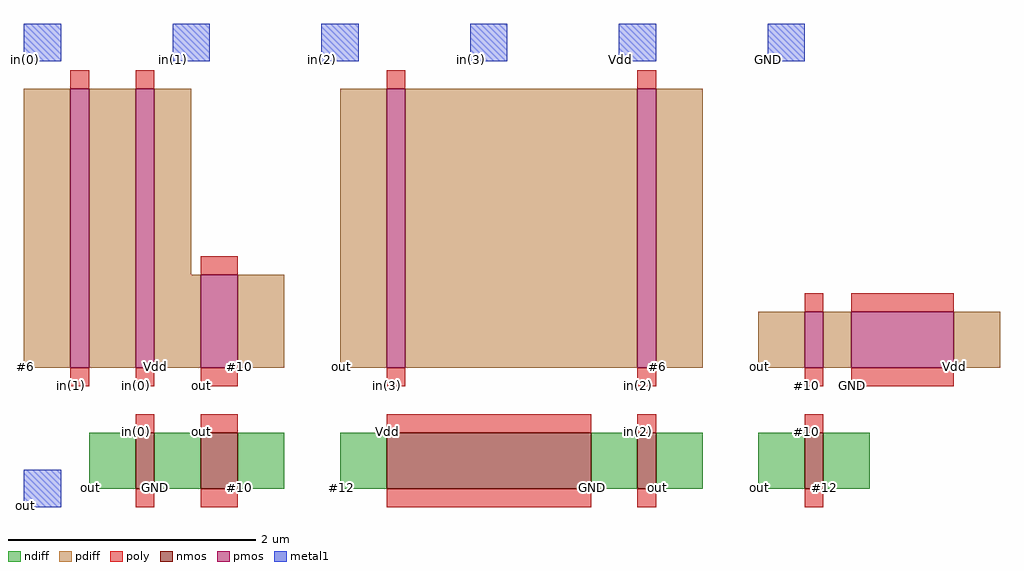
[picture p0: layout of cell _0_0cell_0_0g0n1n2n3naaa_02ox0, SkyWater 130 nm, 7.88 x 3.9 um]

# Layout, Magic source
magic
tech sky130A
magscale 1 2
<< nmos >>
rect 300 90 330 180
rect 405 90 465 180
rect 705 90 1035 180
rect 1110 90 1140 180
rect 1380 90 1410 180
<< pmos >>
rect 195 285 225 735
rect 300 285 330 735
rect 405 285 465 435
rect 705 285 735 735
rect 1110 285 1140 735
rect 1380 285 1410 375
rect 1455 285 1620 375
<< ndiff >>
rect 225 90 300 180
rect 330 90 405 180
rect 465 90 540 180
rect 630 90 705 180
rect 1035 90 1110 180
rect 1140 90 1215 180
rect 1305 90 1380 180
rect 1410 90 1485 180
<< pdiff >>
rect 120 285 195 735
rect 225 285 300 735
rect 330 435 390 735
rect 330 285 405 435
rect 465 285 540 435
rect 630 285 705 735
rect 735 285 1110 735
rect 1140 285 1215 735
rect 1305 285 1380 375
rect 1410 285 1455 375
rect 1620 285 1695 375
<< poly >>
rect 195 735 225 765
rect 300 735 330 765
rect 705 735 735 765
rect 1110 735 1140 765
rect 405 435 465 465
rect 1380 375 1410 405
rect 1455 375 1620 405
rect 195 255 225 285
rect 300 255 330 285
rect 405 255 465 285
rect 705 255 735 285
rect 1110 255 1140 285
rect 1380 255 1410 285
rect 1455 255 1620 285
rect 300 180 330 210
rect 405 180 465 210
rect 705 180 1035 210
rect 1110 180 1140 210
rect 1380 180 1410 210
rect 300 60 330 90
rect 405 60 465 90
rect 705 60 1035 90
rect 1110 60 1140 90
rect 1380 60 1410 90
<< metal1 >>
rect 120 780 180 840
rect 360 780 420 840
rect 600 780 660 840
rect 840 780 900 840
rect 1080 780 1140 840
rect 1320 780 1380 840
rect 120 60 180 120
<< labels >>
rlabel pdiff 467 287 467 287 3 #10
rlabel ndiff 467 92 467 92 3 #10
rlabel poly 407 182 407 182 3 out
rlabel poly 407 257 407 257 3 out
rlabel ndiff 332 92 332 92 3 GND
rlabel pdiff 332 287 332 287 3 Vdd
rlabel poly 302 182 302 182 3 in(0)
rlabel poly 302 257 302 257 3 in(0)
rlabel ndiff 227 92 227 92 3 out
rlabel poly 197 257 197 257 3 in(1)
rlabel pdiff 122 287 122 287 3 #6
rlabel ndiff 1142 92 1142 92 3 out
rlabel pdiff 1142 287 1142 287 3 #6
rlabel poly 1112 182 1112 182 3 in(2)
rlabel poly 1112 257 1112 257 3 in(2)
rlabel ndiff 1037 92 1037 92 3 GND
rlabel poly 707 182 707 182 3 Vdd
rlabel poly 707 257 707 257 3 in(3)
rlabel ndiff 632 92 632 92 3 #12
rlabel pdiff 632 287 632 287 3 out
rlabel pdiff 1622 287 1622 287 3 Vdd
rlabel poly 1457 257 1457 257 3 GND
rlabel ndiff 1412 92 1412 92 3 #12
rlabel poly 1382 182 1382 182 3 #10
rlabel poly 1382 257 1382 257 3 #10
rlabel ndiff 1307 92 1307 92 3 out
rlabel pdiff 1307 287 1307 287 3 out
rlabel metal1 1322 782 1322 782 3 GND
port 1 e
rlabel metal1 1082 782 1082 782 3 Vdd
port 2 e
rlabel metal1 842 782 842 782 3 in(3)
port 3 e
rlabel metal1 602 782 602 782 3 in(2)
port 4 e
rlabel metal1 362 782 362 782 3 in(1)
port 5 e
rlabel metal1 122 62 122 62 3 out
port 6 e
rlabel metal1 122 782 122 782 3 in(0)
port 7 e
<< end >>
